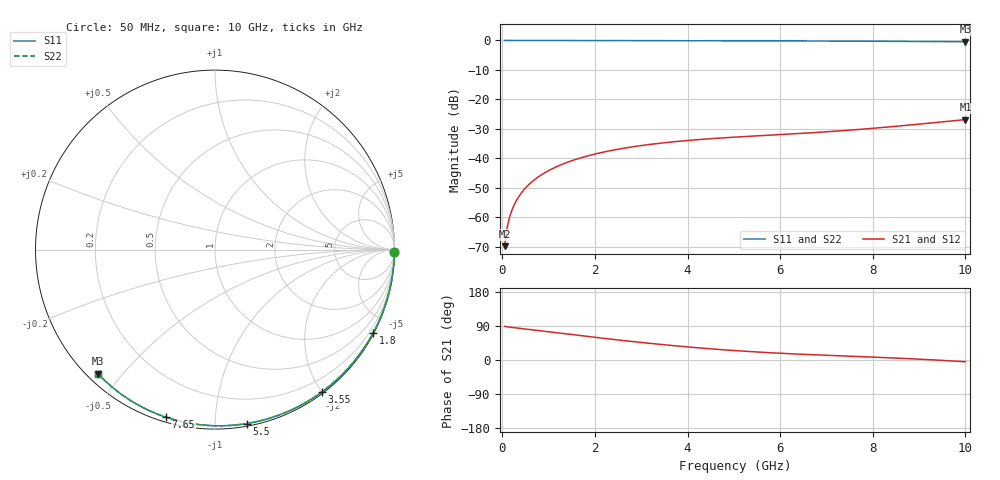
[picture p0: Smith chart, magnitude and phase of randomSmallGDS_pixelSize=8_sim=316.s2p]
! freq	dB(S11)	phase(S11)	dB(S12)	phase(S12)
!  dB(S21)	phase(S21)	dB(S22)	phase(S22)
!S-par simulation data
#  GHz  S  DB  R 50
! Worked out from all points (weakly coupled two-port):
!   200 points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, 50 MHz to 10 GHz, reference 50 ohm
!   highest |S21| = -26.85 dB at 10 GHz (marker M1); lowest = -69.8 dB at 50 MHz (marker M2)
!   lowest |S11| = -0.4 dB at 10 GHz (marker M3), VSWR 39.13, Z = 1.52 - j21.5 ohm
!   |S11| at or under -10 dB: nowhere
!   |S22| runs from -0.4 to 0.0 dB; largest |S21 - S12| = 0
!   S11 on the Smith chart (normalised r, x): 50 MHz: open; 1.8 GHz: 0.04, -4.06; 3.55 GHz: 0.02, -2.00; 5.5 GHz: 0.02, -1.20; 7.65 GHz: 0.02, -0.75; 10 GHz: 0.03, -0.43
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0.05  -0.00 -0.8  -69.78 88.7  -69.78 88.7  -0.00 -0.8
0.1  -0.00 -1.6  -63.81 87.6  -63.81 87.6  -0.00 -1.6
0.15  -0.00 -2.3  -60.35 86.8  -60.35 86.8  -0.00 -2.3
0.2  -0.00 -3.1  -57.89 86.0  -57.89 86.0  -0.00 -3.1
0.25  -0.00 -3.9  -55.98 85.3  -55.98 85.3  -0.00 -3.9
0.35  -0.00 -5.5  -53.10 83.9  -53.10 83.9  -0.00 -5.5
0.5  -0.01 -7.8  -50.04 81.7  -50.04 81.7  -0.01 -7.8
0.7  -0.01 -10.9  -47.17 78.8  -47.17 78.8  -0.01 -10.9
1  -0.02 -15.5  -44.15 74.3  -44.15 74.3  -0.02 -15.5
1.35  -0.03 -20.8  -41.66 69.1  -41.66 69.1  -0.03 -20.8
1.75  -0.03 -26.9  -39.57 63.3  -39.57 63.3  -0.03 -26.9
1.8  -0.04 -27.6  -39.35 62.6  -39.35 62.6  -0.04 -27.6
2.5  -0.05 -38.1  -36.89 52.8  -36.89 52.8  -0.05 -38.1
3.4  -0.07 -51.1  -34.86 41.3  -34.86 41.3  -0.07 -51.1
3.55  -0.07 -53.2  -34.60 39.6  -34.60 39.6  -0.07 -53.2
4.3  -0.09 -63.7  -33.55 31.4  -33.55 31.4  -0.09 -63.7
5.05  -0.11 -73.8  -32.76 24.6  -32.76 24.6  -0.11 -73.8
5.5  -0.13 -79.7  -32.36 21.2  -32.36 21.2  -0.13 -79.7
6.7  -0.18 -94.8  -31.29 14.0  -31.29 14.0  -0.18 -94.8
7.65  -0.24 -106.3  -30.25 9.5  -30.25 9.5  -0.24 -106.3
8.35  -0.29 -114.5  -29.33 6.0  -29.33 6.0  -0.29 -114.5
10  -0.44 -133.4  -26.85 -4.6  -26.85 -4.6  -0.44 -133.4
